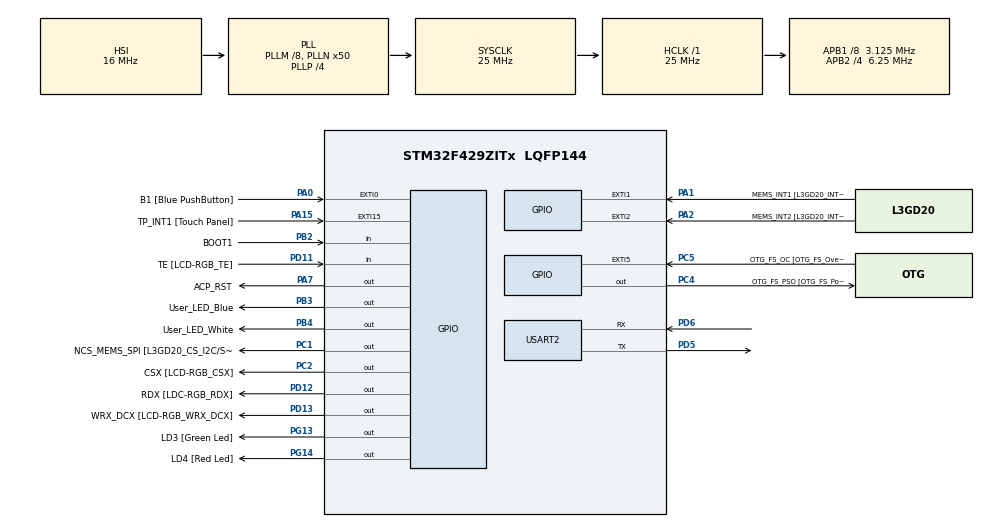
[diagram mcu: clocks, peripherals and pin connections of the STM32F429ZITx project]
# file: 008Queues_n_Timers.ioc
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Mcu.Family=STM32F4
Mcu.Name=STM32F429ZITx
Mcu.Package=LQFP144
NVIC.PriorityGroup=NVIC_PRIORITYGROUP_4
NVIC.TIM6_DAC_IRQn=true\:0\:0\:false\:false\:true\:false\:true
NVIC.TimeBase=TIM6_DAC_IRQn
NVIC.TimeBaseIP=TIM6
NVIC.USART2_IRQn=true\:6\:0\:true\:false\:true\:true\:true
PA0/WKUP.GPIO_Label=B1 [Blue PushButton]
PA0/WKUP.GPIO_ModeDefaultEXTI=GPIO_MODE_EVT_RISING
PA0/WKUP.GPIO_PuPd=GPIO_NOPULL
PA0/WKUP.Signal=GPXTI0
PA1.GPIO_Label=MEMS_INT1 [L3GD20_INT1]
PA1.GPIO_ModeDefaultEXTI=GPIO_MODE_EVT_RISING
PA1.GPIO_PuPd=GPIO_NOPULL
PA1.Signal=GPXTI1
PA10.GPIO_Label=STLINK_TX [STM32F103CBT6_PA2]
PA10.Signal=USART1_RX
PA11.GPIO_Label=R4
PA11.GPIO_Mode=GPIO_MODE_AF_PP
PA11.GPIO_PuPd=GPIO_NOPULL
PA11.GPIO_Speed=GPIO_SPEED_FREQ_LOW
PA11.Signal=LTDC_R4
PA12.GPIO_Label=R5
PA12.GPIO_Mode=GPIO_MODE_AF_PP
PA12.GPIO_PuPd=GPIO_NOPULL
PA12.GPIO_Speed=GPIO_SPEED_FREQ_LOW
PA12.Signal=LTDC_R5
PA13.GPIO_Label=SWDIO
PA13.Signal=SYS_JTMS-SWDIO
PA14.GPIO_Label=SWCLK
PA14.Signal=SYS_JTCK-SWCLK
PA15.GPIO_Label=TP_INT1 [Touch Panel]
PA15.GPIO_ModeDefaultEXTI=GPIO_MODE_EVT_RISING
PA15.GPIO_PuPd=GPIO_NOPULL
PA15.Signal=GPXTI15
PA2.GPIO_Label=MEMS_INT2 [L3GD20_INT2]
PA2.GPIO_ModeDefaultEXTI=GPIO_MODE_EVT_RISING
PA2.GPIO_PuPd=GPIO_NOPULL
PA2.Signal=GPXTI2
PA3.GPIO_Label=B5
PA3.GPIO_Mode=GPIO_MODE_AF_PP
PA3.GPIO_PuPd=GPIO_NOPULL
PA3.GPIO_Speed=GPIO_SPEED_FREQ_LOW
PA3.Signal=LTDC_B5
PA4.GPIO_Label=VSYNC
PA4.GPIO_Mode=GPIO_MODE_AF_PP
PA4.GPIO_PuPd=GPIO_NOPULL
PA4.GPIO_Speed=GPIO_SPEED_FREQ_LOW
PA4.Signal=LTDC_VSYNC
PA6.GPIO_Label=G2
PA6.GPIO_Mode=GPIO_MODE_AF_PP
PA6.GPIO_PuPd=GPIO_NOPULL
PA6.GPIO_Speed=GPIO_SPEED_FREQ_LOW
PA6.Signal=LTDC_G2
PA7.GPIO_Label=ACP_RST
PA7.GPIO_Mode=GPIO_MODE_OUTPUT_PP
PA7.GPIO_PuPd=GPIO_NOPULL
PA7.GPIO_Speed=GPIO_SPEED_FREQ_LOW
PA7.Signal=GPIO_Output
PA8.GPIO_Label=I2C3_SCL [ACP/RF_SCL]
PA8.GPIO_Mode=GPIO_MODE_AF_OD
PA8.GPIO_PuPd=GPIO_NOPULL
PA8.GPIO_Speed=GPIO_SPEED_FREQ_LOW
PA8.Signal=I2C3_SCL
PA9.GPIO_Label=STLINK_RX [STM32F103CBT6_PA3]
PA9.Signal=USART1_TX
PB0.GPIO_Label=R3
PB0.GPIO_Mode=GPIO_MODE_AF_PP
PB0.GPIO_PuPd=GPIO_NOPULL
PB0.GPIO_Speed=GPIO_SPEED_FREQ_LOW
PB0.Signal=LTDC_R3
PB1.GPIO_Label=R6
PB1.GPIO_Mode=GPIO_MODE_AF_PP
PB1.GPIO_PuPd=GPIO_NOPULL
PB1.GPIO_Speed=GPIO_SPEED_FREQ_LOW
PB1.Signal=LTDC_R6
PB10.GPIO_Label=G4
PB10.GPIO_Mode=GPIO_MODE_AF_PP
PB10.GPIO_PuPd=GPIO_NOPULL
PB10.GPIO_Speed=GPIO_SPEED_FREQ_LOW
PB10.Signal=LTDC_G4
PB11.GPIO_Label=G5
PB11.GPIO_Mode=GPIO_MODE_AF_PP
PB11.GPIO_PuPd=GPIO_NOPULL
PB11.GPIO_Speed=GPIO_SPEED_FREQ_LOW
PB11.Signal=LTDC_G5
PB12.GPIO_Label=OTG_HS_ID
PB12.GPIO_Mode=GPIO_MODE_AF_PP
PB12.GPIO_PuPd=GPIO_NOPULL
PB12.GPIO_Speed=GPIO_SPEED_FREQ_LOW
PB12.Signal=USB_OTG_HS_ID
PB13.GPIO_Label=VBUS_HS
PB13.GPIO_Mode=GPIO_MODE_INPUT
PB13.GPIO_PuPd=GPIO_NOPULL
PB13.Signal=USB_OTG_HS_VBUS
PB14.GPIO_Label=OTG_HS_DM
PB14.GPIO_Mode=GPIO_MODE_AF_PP
PB14.GPIO_PuPd=GPIO_NOPULL
PB14.GPIO_Speed=GPIO_SPEED_FREQ_LOW
PB14.Signal=USB_OTG_HS_DM
PB15.GPIO_Label=OTG_HS_DP
PB15.GPIO_Mode=GPIO_MODE_AF_PP
PB15.GPIO_PuPd=GPIO_NOPULL
PB15.GPIO_Speed=GPIO_SPEED_FREQ_LOW
PB15.Signal=USB_OTG_HS_DP
PB2/BOOT1.GPIO_Label=BOOT1
PB2/BOOT1.GPIO_Mode=GPIO_MODE_INPUT
PB2/BOOT1.GPIO_PuPd=GPIO_NOPULL
PB2/BOOT1.Signal=GPIO_Input
PB3.GPIO_Label=User_LED_Blue
PB3.Signal=GPIO_Output
PB4.GPIO_Label=User_LED_White
PB4.Signal=GPIO_Output
PB5.GPIO_Label=SDCKE1
PB5.GPIO_Mode=GPIO_MODE_AF_PP
PB5.GPIO_PuPd=GPIO_NOPULL
PB5.GPIO_Speed=GPIO_SPEED_FREQ_VERY_HIGH
PB5.Signal=FMC_SDCKE1
PB6.GPIO_Label=SDNE1 [SDRAM_CS]
PB6.GPIO_Mode=GPIO_MODE_AF_PP
PB6.GPIO_PuPd=GPIO_NOPULL
PB6.GPIO_Speed=GPIO_SPEED_FREQ_VERY_HIGH
PB6.Signal=FMC_SDNE1
PB8.GPIO_Label=B6
PB8.GPIO_Mode=GPIO_MODE_AF_PP
PB8.GPIO_PuPd=GPIO_NOPULL
PB8.GPIO_Speed=GPIO_SPEED_FREQ_LOW
PB8.Signal=LTDC_B6
PB9.GPIO_Label=B7
PB9.GPIO_Mode=GPIO_MODE_AF_PP
PB9.GPIO_PuPd=GPIO_NOPULL
PB9.GPIO_Speed=GPIO_SPEED_FREQ_LOW
PB9.Signal=LTDC_B7
PC0.GPIO_Label=SDNWE
PC0.GPIO_Mode=GPIO_MODE_AF_PP
PC0.GPIO_PuPd=GPIO_NOPULL
PC0.GPIO_Speed=GPIO_SPEED_FREQ_VERY_HIGH
PC0.Signal=FMC_SDNWE
PC1.GPIO_Label=NCS_MEMS_SPI [L3GD20_CS_I2C/SPI]
PC1.GPIO_Mode=GPIO_MODE_OUTPUT_PP
PC1.GPIO_PuPd=GPIO_NOPULL
PC1.GPIO_Speed=GPIO_SPEED_FREQ_LOW
PC1.Signal=GPIO_Output
PC10.GPIO_Label=R2
PC10.GPIO_Mode=GPIO_MODE_AF_PP
PC10.GPIO_PuPd=GPIO_NOPULL
PC10.GPIO_Speed=GPIO_SPEED_FREQ_LOW
PC10.Signal=LTDC_R2
PC14/OSC32_IN.GPIO_Label=PC14-OSC32_IN
PC14/OSC32_IN.Signal=RCC_OSC32_IN
PC15/OSC32_OUT.GPIO_Label=PC15-OSC32_OUT
PC15/OSC32_OUT.Signal=RCC_OSC32_OUT
PC2.GPIO_Label=CSX [LCD-RGB_CSX]
PC2.GPIO_Mode=GPIO_MODE_OUTPUT_PP
PC2.GPIO_PuPd=GPIO_NOPULL
PC2.GPIO_Speed=GPIO_SPEED_FREQ_LOW
PC2.Signal=GPIO_Output
PC4.GPIO_Label=OTG_FS_PSO [OTG_FS_PowerSwitchOn]
PC4.GPIO_Mode=GPIO_MODE_OUTPUT_PP
PC4.GPIO_PuPd=GPIO_NOPULL
PC4.GPIO_Speed=GPIO_SPEED_FREQ_LOW
PC4.Signal=GPIO_Output
PC5.GPIO_Label=OTG_FS_OC [OTG_FS_OverCurrent]
PC5.GPIO_ModeDefaultEXTI=GPIO_MODE_EVT_RISING
PC5.Signal=GPXTI5
PC6.GPIO_Label=HSYNC
PC6.GPIO_Mode=GPIO_MODE_AF_PP
PC6.GPIO_PuPd=GPIO_NOPULL
PC6.GPIO_Speed=GPIO_SPEED_FREQ_LOW
PC6.Signal=LTDC_HSYNC
PC7.GPIO_Label=G6
PC7.GPIO_Mode=GPIO_MODE_AF_PP
PC7.GPIO_PuPd=GPIO_NOPULL
PC7.GPIO_Speed=GPIO_SPEED_FREQ_LOW
PC7.Signal=LTDC_G6
PC9.GPIO_Label=I2C3_SDA [ACP/RF_SDA]
PC9.GPIO_Mode=GPIO_MODE_AF_OD
PC9.GPIO_PuPd=GPIO_NOPULL
PC9.GPIO_Speed=GPIO_SPEED_FREQ_LOW
PC9.Signal=I2C3_SDA
PD0.GPIO_Label=D2
PD0.GPIO_Mode=GPIO_MODE_AF_PP
PD0.GPIO_PuPd=GPIO_NOPULL
PD0.GPIO_Speed=GPIO_SPEED_FREQ_VERY_HIGH
PD0.Signal=FMC_D2_DA2
PD1.GPIO_Label=D3
PD1.GPIO_Mode=GPIO_MODE_AF_PP
PD1.GPIO_PuPd=GPIO_NOPULL
PD1.GPIO_Speed=GPIO_SPEED_FREQ_VERY_HIGH
PD1.Signal=FMC_D3_DA3
PD10.GPIO_Label=D15
PD10.GPIO_Mode=GPIO_MODE_AF_PP
PD10.GPIO_PuPd=GPIO_NOPULL
PD10.GPIO_Speed=GPIO_SPEED_FREQ_VERY_HIGH
PD10.Signal=FMC_D15_DA15
PD11.GPIO_Label=TE [LCD-RGB_TE]
PD11.GPIO_Mode=GPIO_MODE_INPUT
PD11.GPIO_PuPd=GPIO_NOPULL
PD11.Signal=GPIO_Input
PD12.GPIO_Label=RDX [LDC-RGB_RDX]
PD12.GPIO_Mode=GPIO_MODE_OUTPUT_PP
PD12.GPIO_PuPd=GPIO_NOPULL
PD12.GPIO_Speed=GPIO_SPEED_FREQ_LOW
PD12.Signal=GPIO_Output
PD13.GPIO_Label=WRX_DCX [LCD-RGB_WRX_DCX]
PD13.GPIO_Mode=GPIO_MODE_OUTPUT_PP
PD13.GPIO_PuPd=GPIO_NOPULL
PD13.GPIO_Speed=GPIO_SPEED_FREQ_LOW
PD13.Signal=GPIO_Output
PD14.GPIO_Label=D0
PD14.GPIO_Mode=GPIO_MODE_AF_PP
PD14.GPIO_PuPd=GPIO_NOPULL
PD14.GPIO_Speed=GPIO_SPEED_FREQ_VERY_HIGH
PD14.Signal=FMC_D0_DA0
PD15.GPIO_Label=D1
PD15.GPIO_Mode=GPIO_MODE_AF_PP
PD15.GPIO_PuPd=GPIO_NOPULL
PD15.GPIO_Speed=GPIO_SPEED_FREQ_VERY_HIGH
PD15.Signal=FMC_D1_DA1
PD3.GPIO_Label=G7
PD3.GPIO_Mode=GPIO_MODE_AF_PP
PD3.GPIO_PuPd=GPIO_NOPULL
PD3.GPIO_Speed=GPIO_SPEED_FREQ_LOW
PD3.Signal=LTDC_G7
PD5.Mode=Asynchronous
PD5.Signal=USART2_TX
PD6.Mode=Asynchronous
PD6.Signal=USART2_RX
PD8.GPIO_Label=D13
PD8.GPIO_Mode=GPIO_MODE_AF_PP
PD8.GPIO_PuPd=GPIO_NOPULL
PD8.GPIO_Speed=GPIO_SPEED_FREQ_VERY_HIGH
PD8.Signal=FMC_D13_DA13
PD9.GPIO_Label=D14
PD9.GPIO_Mode=GPIO_MODE_AF_PP
PD9.GPIO_PuPd=GPIO_NOPULL
PD9.GPIO_Speed=GPIO_SPEED_FREQ_VERY_HIGH
PD9.Signal=FMC_D14_DA14
PE0.GPIO_Label=NBL0 [SDRAM_LDQM]
PE0.GPIO_Mode=GPIO_MODE_AF_PP
PE0.GPIO_PuPd=GPIO_NOPULL
PE0.GPIO_Speed=GPIO_SPEED_FREQ_VERY_HIGH
PE0.Signal=FMC_NBL0
PE1.GPIO_Label=NBL1 [SDRAM_UDQM]
PE1.GPIO_Mode=GPIO_MODE_AF_PP
PE1.GPIO_PuPd=GPIO_NOPULL
PE1.GPIO_Speed=GPIO_SPEED_FREQ_VERY_HIGH
PE1.Signal=FMC_NBL1
PE10.GPIO_Label=D7
PE10.GPIO_Mode=GPIO_MODE_AF_PP
PE10.GPIO_PuPd=GPIO_NOPULL
PE10.GPIO_Speed=GPIO_SPEED_FREQ_VERY_HIGH
PE10.Signal=FMC_D7_DA7
PE11.GPIO_Label=D8
PE11.GPIO_Mode=GPIO_MODE_AF_PP
PE11.GPIO_PuPd=GPIO_NOPULL
PE11.GPIO_Speed=GPIO_SPEED_FREQ_VERY_HIGH
PE11.Signal=FMC_D8_DA8
PE12.GPIO_Label=D9
PE12.GPIO_Mode=GPIO_MODE_AF_PP
PE12.GPIO_PuPd=GPIO_NOPULL
PE12.GPIO_Speed=GPIO_SPEED_FREQ_VERY_HIGH
PE12.Signal=FMC_D9_DA9
PE13.GPIO_Label=D10
PE13.GPIO_Mode=GPIO_MODE_AF_PP
PE13.GPIO_PuPd=GPIO_NOPULL
PE13.GPIO_Speed=GPIO_SPEED_FREQ_VERY_HIGH
PE13.Signal=FMC_D10_DA10
PE14.GPIO_Label=D11
PE14.GPIO_Mode=GPIO_MODE_AF_PP
PE14.GPIO_PuPd=GPIO_NOPULL
PE14.GPIO_Speed=GPIO_SPEED_FREQ_VERY_HIGH
PE14.Signal=FMC_D11_DA11
PE15.GPIO_Label=D12
PE15.GPIO_Mode=GPIO_MODE_AF_PP
PE15.GPIO_PuPd=GPIO_NOPULL
PE15.GPIO_Speed=GPIO_SPEED_FREQ_VERY_HIGH
PE15.Signal=FMC_D12_DA12
PE7.GPIO_Label=D4
PE7.GPIO_Mode=GPIO_MODE_AF_PP
PE7.GPIO_PuPd=GPIO_NOPULL
PE7.GPIO_Speed=GPIO_SPEED_FREQ_VERY_HIGH
PE7.Signal=FMC_D4_DA4
PE8.GPIO_Label=D5
PE8.GPIO_Mode=GPIO_MODE_AF_PP
PE8.GPIO_PuPd=GPIO_NOPULL
PE8.GPIO_Speed=GPIO_SPEED_FREQ_VERY_HIGH
PE8.Signal=FMC_D5_DA5
PE9.GPIO_Label=D6
PE9.GPIO_Mode=GPIO_MODE_AF_PP
PE9.GPIO_PuPd=GPIO_NOPULL
PE9.GPIO_Speed=GPIO_SPEED_FREQ_VERY_HIGH
PE9.Signal=FMC_D6_DA6
PF0.GPIO_Label=A0
PF0.GPIO_Mode=GPIO_MODE_AF_PP
PF0.GPIO_PuPd=GPIO_NOPULL
PF0.GPIO_Speed=GPIO_SPEED_FREQ_VERY_HIGH
PF0.Signal=FMC_A0
PF1.GPIO_Label=A1
PF1.GPIO_Mode=GPIO_MODE_AF_PP
PF1.GPIO_PuPd=GPIO_NOPULL
PF1.GPIO_Speed=GPIO_SPEED_FREQ_VERY_HIGH
PF1.Signal=FMC_A1
PF10.GPIO_Label=ENABLE [LCD-RGB_ENABLE]
PF10.GPIO_Mode=GPIO_MODE_AF_PP
PF10.GPIO_PuPd=GPIO_NOPULL
PF10.GPIO_Speed=GPIO_SPEED_FREQ_LOW
PF10.Signal=LTDC_DE
PF11.GPIO_Label=SDNRAS
PF11.GPIO_Mode=GPIO_MODE_AF_PP
PF11.GPIO_PuPd=GPIO_NOPULL
PF11.GPIO_Speed=GPIO_SPEED_FREQ_VERY_HIGH
PF11.Signal=FMC_SDNRAS
PF12.GPIO_Label=A6
PF12.GPIO_Mode=GPIO_MODE_AF_PP
PF12.GPIO_PuPd=GPIO_NOPULL
PF12.GPIO_Speed=GPIO_SPEED_FREQ_VERY_HIGH
PF12.Signal=FMC_A6
PF13.GPIO_Label=A7
PF13.GPIO_Mode=GPIO_MODE_AF_PP
PF13.GPIO_PuPd=GPIO_NOPULL
PF13.GPIO_Speed=GPIO_SPEED_FREQ_VERY_HIGH
PF13.Signal=FMC_A7
PF14.GPIO_Label=A8
PF14.GPIO_Mode=GPIO_MODE_AF_PP
PF14.GPIO_PuPd=GPIO_NOPULL
PF14.GPIO_Speed=GPIO_SPEED_FREQ_VERY_HIGH
PF14.Signal=FMC_A8
PF15.GPIO_Label=A9
PF15.GPIO_Mode=GPIO_MODE_AF_PP
PF15.GPIO_PuPd=GPIO_NOPULL
PF15.GPIO_Speed=GPIO_SPEED_FREQ_VERY_HIGH
PF15.Signal=FMC_A9
PF2.GPIO_Label=A2
PF2.GPIO_Mode=GPIO_MODE_AF_PP
PF2.GPIO_PuPd=GPIO_NOPULL
PF2.GPIO_Speed=GPIO_SPEED_FREQ_VERY_HIGH
PF2.Signal=FMC_A2
PF3.GPIO_Label=A3
PF3.GPIO_Mode=GPIO_MODE_AF_PP
PF3.GPIO_PuPd=GPIO_NOPULL
PF3.GPIO_Speed=GPIO_SPEED_FREQ_VERY_HIGH
PF3.Signal=FMC_A3
PF4.GPIO_Label=A4
PF4.GPIO_Mode=GPIO_MODE_AF_PP
PF4.GPIO_PuPd=GPIO_NOPULL
PF4.GPIO_Speed=GPIO_SPEED_FREQ_VERY_HIGH
PF4.Signal=FMC_A4
PF5.GPIO_Label=A5
PF5.GPIO_Mode=GPIO_MODE_AF_PP
PF5.GPIO_PuPd=GPIO_NOPULL
PF5.GPIO_Speed=GPIO_SPEED_FREQ_VERY_HIGH
PF5.Signal=FMC_A5
PF7.GPIO_Label=SPI5_SCK [L3GD20_SCL/SPC]
PF7.GPIO_Mode=GPIO_MODE_AF_PP
PF7.GPIO_PuPd=GPIO_NOPULL
PF7.GPIO_Speed=GPIO_SPEED_FREQ_LOW
PF7.Signal=SPI5_SCK
PF8.GPIO_Label=SPI5_MISO [L3GD20_SDO]
PF8.GPIO_Mode=GPIO_MODE_AF_PP
PF8.GPIO_PuPd=GPIO_NOPULL
PF8.GPIO_Speed=GPIO_SPEED_FREQ_LOW
PF8.Signal=SPI5_MISO
PF9.GPIO_Label=SPI5_MOSI [L3GD20_SDA/SDI/SDO]
PF9.GPIO_Mode=GPIO_MODE_AF_PP
PF9.GPIO_PuPd=GPIO_NOPULL
PF9.GPIO_Speed=GPIO_SPEED_FREQ_LOW
PF9.Signal=SPI5_MOSI
PG0.GPIO_Label=A10
PG0.GPIO_Mode=GPIO_MODE_AF_PP
PG0.GPIO_PuPd=GPIO_NOPULL
PG0.GPIO_Speed=GPIO_SPEED_FREQ_VERY_HIGH
PG0.Signal=FMC_A10
PG1.GPIO_Label=A11
PG1.GPIO_Mode=GPIO_MODE_AF_PP
PG1.GPIO_PuPd=GPIO_NOPULL
PG1.GPIO_Speed=GPIO_SPEED_FREQ_VERY_HIGH
PG1.Signal=FMC_A11
PG10.GPIO_Label=G3
PG10.GPIO_Mode=GPIO_MODE_AF_PP
PG10.GPIO_PuPd=GPIO_NOPULL
PG10.GPIO_Speed=GPIO_SPEED_FREQ_LOW
PG10.Signal=LTDC_G3
PG11.GPIO_Label=B3
PG11.GPIO_Mode=GPIO_MODE_AF_PP
PG11.GPIO_PuPd=GPIO_NOPULL
PG11.GPIO_Speed=GPIO_SPEED_FREQ_LOW
PG11.Signal=LTDC_B3
PG12.GPIO_Label=B4
PG12.GPIO_Mode=GPIO_MODE_AF_PP
PG12.GPIO_PuPd=GPIO_NOPULL
PG12.GPIO_Speed=GPIO_SPEED_FREQ_LOW
PG12.Signal=LTDC_B4
PG13.GPIO_Label=LD3 [Green Led]
PG13.GPIO_Mode=GPIO_MODE_OUTPUT_PP
PG13.GPIO_PuPd=GPIO_NOPULL
PG13.GPIO_Speed=GPIO_SPEED_FREQ_LOW
PG13.Signal=GPIO_Output
PG14.GPIO_Label=LD4 [Red Led]
PG14.GPIO_Mode=GPIO_MODE_OUTPUT_PP
PG14.GPIO_PuPd=GPIO_NOPULL
PG14.GPIO_Speed=GPIO_SPEED_FREQ_LOW
PG14.Signal=GPIO_Output
PG15.GPIO_Label=SDNCAS
PG15.GPIO_Mode=GPIO_MODE_AF_PP
PG15.GPIO_PuPd=GPIO_NOPULL
PG15.GPIO_Speed=GPIO_SPEED_FREQ_VERY_HIGH
PG15.Signal=FMC_SDNCAS
PG4.GPIO_Label=BA0
PG4.GPIO_Mode=GPIO_MODE_AF_PP
PG4.GPIO_PuPd=GPIO_NOPULL
PG4.GPIO_Speed=GPIO_SPEED_FREQ_VERY_HIGH
PG4.Signal=FMC_A14_BA0
PG5.GPIO_Label=BA1
PG5.GPIO_Mode=GPIO_MODE_AF_PP
PG5.GPIO_PuPd=GPIO_NOPULL
PG5.GPIO_Speed=GPIO_SPEED_FREQ_VERY_HIGH
PG5.Signal=FMC_A15_BA1
PG6.GPIO_Label=R7
PG6.GPIO_Mode=GPIO_MODE_AF_PP
PG6.GPIO_PuPd=GPIO_NOPULL
PG6.GPIO_Speed=GPIO_SPEED_FREQ_LOW
PG6.Signal=LTDC_R7
PG7.GPIO_Label=DOTCLK [LCT-RGB_DOTCLK]
PG7.GPIO_Mode=GPIO_MODE_AF_PP
PG7.GPIO_PuPd=GPIO_NOPULL
PG7.GPIO_Speed=GPIO_SPEED_FREQ_LOW
PG7.Signal=LTDC_CLK
PG8.GPIO_Label=SDCLK
PG8.GPIO_Mode=GPIO_MODE_AF_PP
PG8.GPIO_PuPd=GPIO_NOPULL
PG8.GPIO_Speed=GPIO_SPEED_FREQ_VERY_HIGH
PG8.Signal=FMC_SDCLK
PH0/OSC_IN.GPIO_Label=PH0-OSC_IN
PH0/OSC_IN.Signal=RCC_OSC_IN
PH1/OSC_OUT.GPIO_Label=PH1-OSC_OUT
PH1/OSC_OUT.Signal=RCC_OSC_OUT
ProjectManager.HeapSize=0x200
ProjectManager.StackSize=0x400
ProjectManager.TargetToolchain=STM32CubeIDE
RCC.48MHZClocksFreq_Value=14285714.285714285
RCC.AHBFreq_Value=25000000
RCC.APB1CLKDivider=RCC_HCLK_DIV8
RCC.APB1Freq_Value=3125000
RCC.APB1TimFreq_Value=6250000
RCC.APB2CLKDivider=RCC_HCLK_DIV4
RCC.APB2Freq_Value=6250000
RCC.APB2TimFreq_Value=12500000
RCC.CortexFreq_Value=25000000
RCC.HCLKFreq_Value=25000000
RCC.HSE_VALUE=8000000
RCC.HSI_VALUE=16000000
RCC.LSE_VALUE=32768
RCC.PLLM=8
RCC.PLLN=50
RCC.PLLP=RCC_PLLP_DIV4
RCC.PLLQ=7
RCC.SYSCLKFreq_VALUE=25000000
RCC.SYSCLKSource=RCC_SYSCLKSOURCE_PLLCLK
RCC.VCOOutputFreq_Value=100000000
RTC.HourFormat=RTC_HOURFORMAT_12
SH.FMC_A0.0=FMC_A0
SH.FMC_A1.0=FMC_A1
SH.FMC_A10.0=FMC_A10
SH.FMC_A11.0=FMC_A11
SH.FMC_A14_BA0.0=FMC_BA0
SH.FMC_A15_BA1.0=FMC_BA1
SH.FMC_A2.0=FMC_A2
SH.FMC_A3.0=FMC_A3
SH.FMC_A4.0=FMC_A4
SH.FMC_A5.0=FMC_A5
SH.FMC_A6.0=FMC_A6
SH.FMC_A7.0=FMC_A7
SH.FMC_A8.0=FMC_A8
SH.FMC_A9.0=FMC_A9
SH.FMC_D0_DA0.0=FMC_D0
SH.FMC_D10_DA10.0=FMC_D10
SH.FMC_D11_DA11.0=FMC_D11
SH.FMC_D12_DA12.0=FMC_D12
SH.FMC_D13_DA13.0=FMC_D13
SH.FMC_D14_DA14.0=FMC_D14
SH.FMC_D15_DA15.0=FMC_D15
SH.FMC_D1_DA1.0=FMC_D1
SH.FMC_D2_DA2.0=FMC_D2
SH.FMC_D3_DA3.0=FMC_D3
SH.FMC_D4_DA4.0=FMC_D4
SH.FMC_D5_DA5.0=FMC_D5
SH.FMC_D6_DA6.0=FMC_D6
SH.FMC_D7_DA7.0=FMC_D7
SH.FMC_D8_DA8.0=FMC_D8
SH.FMC_D9_DA9.0=FMC_D9
SH.FMC_NBL0.0=FMC_NBL0
SH.FMC_NBL1.0=FMC_NBL1
SH.FMC_SDCLK.0=FMC_SDCLK
SH.FMC_SDNCAS.0=FMC_SDNCAS
SH.FMC_SDNRAS.0=FMC_SDNRAS
SH.FMC_SDNWE.0=FMC_SDNWE
USART2.VirtualMode=VM_ASYNC
VP_RTC_VS_RTC_Activate.Mode=RTC_Enabled
VP_SYS_VS_tim6.Mode=TIM6
board=STM32F429I-DISC1

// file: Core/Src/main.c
/* USER CODE BEGIN Header */
/**
  ******************************************************************************
  * @file           : main.c
  * @brief          : Main program body
  ******************************************************************************
  * @attention
  *
  * <h2><center>&copy; Copyright (c) 2021 STMicroelectronics.
  * All rights reserved.</center></h2>
  *
  * This software component is licensed by ST under BSD 3-Clause license,
  * the "License"; You may not use this file except in compliance with the
  * License. You may obtain a copy of the License at:
  *                        opensource.org/licenses/BSD-3-Clause
  *
  ******************************************************************************
  */
/* USER CODE END Header */
#include "main.h"

RTC_HandleTypeDef hrtc;

UART_HandleTypeDef huart2;

/* USER CODE BEGIN PV */

xTaskHandle handle_cmd_task;
xTaskHandle handle_menu_task;
xTaskHandle handle_print_task;
xTaskHandle handle_led_task;
xTaskHandle handle_rtc_task;

QueueHandle_t q_data;
QueueHandle_t q_print;

//software timer handles
TimerHandle_t  handle_led_timer[4];
TimerHandle_t rtc_timer;

volatile uint8_t user_data;

//state variable
state_t curr_state = sMainMenu;

/* USER CODE END PV */

void SystemClock_Config(void);
static void MX_GPIO_Init(void);
static void MX_RTC_Init(void);
static void MX_USART2_UART_Init(void);
/* USER CODE BEGIN PFP */

void led_effect_callback(TimerHandle_t xTimer);
void rtc_report_callback( TimerHandle_t xTimer );

/* USER CODE END PFP */

int main(void)
{
  /* USER CODE BEGIN 1 */

	BaseType_t status;

  /* USER CODE END 1 */

  /* MCU Configuration--------------------------------------------------------*/

  /* Reset of all peripherals, Initializes the Flash interface and the Systick. */
  HAL_Init();

  /* Configure the system clock */
  SystemClock_Config();

  /* Initialize all configured peripherals */
  MX_GPIO_Init();
  MX_RTC_Init();
  MX_USART2_UART_Init();
  /* USER CODE BEGIN 2 */

  status = xTaskCreate(menu_task, "menu_task", 250, NULL, 2, &handle_menu_task);

  	configASSERT(status == pdPASS);

  	status = xTaskCreate(cmd_handler_task, "cmd_task", 250, NULL, 2, &handle_cmd_task);

  	configASSERT(status == pdPASS);

  	status = xTaskCreate(print_task, "print_task", 250, NULL, 2, &handle_print_task);

  	configASSERT(status == pdPASS);

  	status = xTaskCreate(led_task, "led_task", 250, NULL, 2, &handle_led_task);

  	configASSERT(status == pdPASS);

  	status = xTaskCreate(rtc_task, "rtc_task", 250, NULL, 2, &handle_rtc_task);

  	configASSERT(status == pdPASS);

  	q_data = xQueueCreate (10, sizeof(char));

  	configASSERT(q_data != NULL);

  	q_print = xQueueCreate (10, sizeof(size_t));

  	configASSERT(q_print != NULL);

  	//Create software timers for LED effects
  	for(int i = 0 ; i < 4 ; i++)
  			handle_led_timer[i] = xTimerCreate("led_timer",pdMS_TO_TICKS(500),pdTRUE, (void*)(i+1),led_effect_callback);

  	rtc_timer = xTimerCreate ("rtc_report_timer",pdMS_TO_TICKS(1000),pdTRUE,NULL,rtc_report_callback);

  	HAL_UART_Receive_IT(&huart2, (uint8_t*)&user_data, 1);

  	vTaskStartScheduler();

  /* USER CODE END 2 */

  /* Infinite loop */
  while (1)
  {

  }
}

void SystemClock_Config(void)
{
  RCC_OscInitTypeDef RCC_OscInitStruct = {0};
  RCC_ClkInitTypeDef RCC_ClkInitStruct = {0};

  /** Configure the main internal regulator output voltage
  */
  __HAL_RCC_PWR_CLK_ENABLE();
  __HAL_PWR_VOLTAGESCALING_CONFIG(PWR_REGULATOR_VOLTAGE_SCALE3);
  /** Initializes the RCC Oscillators according to the specified parameters
  * in the RCC_OscInitTypeDef structure.
  */
  RCC_OscInitStruct.OscillatorType = RCC_OSCILLATORTYPE_HSI|RCC_OSCILLATORTYPE_LSI;
  RCC_OscInitStruct.HSIState = RCC_HSI_ON;
  RCC_OscInitStruct.HSICalibrationValue = RCC_HSICALIBRATION_DEFAULT;
  RCC_OscInitStruct.LSIState = RCC_LSI_ON;
  RCC_OscInitStruct.PLL.PLLState = RCC_PLL_ON;
  RCC_OscInitStruct.PLL.PLLSource = RCC_PLLSOURCE_HSI;
  RCC_OscInitStruct.PLL.PLLM = 8;
  RCC_OscInitStruct.PLL.PLLN = 50;
  RCC_OscInitStruct.PLL.PLLP = RCC_PLLP_DIV4;
  RCC_OscInitStruct.PLL.PLLQ = 7;
  if (HAL_RCC_OscConfig(&RCC_OscInitStruct) != HAL_OK)
  {
    Error_Handler();
  }
  /** Initializes the CPU, AHB and APB buses clocks
  */
  RCC_ClkInitStruct.ClockType = RCC_CLOCKTYPE_HCLK|RCC_CLOCKTYPE_SYSCLK
                              |RCC_CLOCKTYPE_PCLK1|RCC_CLOCKTYPE_PCLK2;
  RCC_ClkInitStruct.SYSCLKSource = RCC_SYSCLKSOURCE_PLLCLK;
  RCC_ClkInitStruct.AHBCLKDivider = RCC_SYSCLK_DIV1;
  RCC_ClkInitStruct.APB1CLKDivider = RCC_HCLK_DIV8;
  RCC_ClkInitStruct.APB2CLKDivider = RCC_HCLK_DIV4;

  if (HAL_RCC_ClockConfig(&RCC_ClkInitStruct, FLASH_LATENCY_0) != HAL_OK)
  {
    Error_Handler();
  }
}

static void MX_RTC_Init(void)
{

  /** Initialize RTC Only
  */
  hrtc.Instance = RTC;
  hrtc.Init.HourFormat = RTC_HOURFORMAT_12;
  hrtc.Init.AsynchPrediv = 127;
  hrtc.Init.SynchPrediv = 255;
  hrtc.Init.OutPut = RTC_OUTPUT_DISABLE;
  hrtc.Init.OutPutPolarity = RTC_OUTPUT_POLARITY_HIGH;
  hrtc.Init.OutPutType = RTC_OUTPUT_TYPE_OPENDRAIN;
  if (HAL_RTC_Init(&hrtc) != HAL_OK)
  {
    Error_Handler();
  }

}

static void MX_USART2_UART_Init(void)
{

  huart2.Instance = USART2;
  huart2.Init.BaudRate = 115200;
  huart2.Init.WordLength = UART_WORDLENGTH_8B;
  huart2.Init.StopBits = UART_STOPBITS_1;
  huart2.Init.Parity = UART_PARITY_NONE;
  huart2.Init.Mode = UART_MODE_TX_RX;
  huart2.Init.HwFlowCtl = UART_HWCONTROL_NONE;
  huart2.Init.OverSampling = UART_OVERSAMPLING_16;
  if (HAL_UART_Init(&huart2) != HAL_OK)
  {
    Error_Handler();
  }

}

static void MX_GPIO_Init(void)
{
  GPIO_InitTypeDef GPIO_InitStruct = {0};

  /* GPIO Ports Clock Enable */
  __HAL_RCC_GPIOC_CLK_ENABLE();
  __HAL_RCC_GPIOF_CLK_ENABLE();
  __HAL_RCC_GPIOH_CLK_ENABLE();
  __HAL_RCC_GPIOA_CLK_ENABLE();
  __HAL_RCC_GPIOB_CLK_ENABLE();
  __HAL_RCC_GPIOG_CLK_ENABLE();
  __HAL_RCC_GPIOE_CLK_ENABLE();
  __HAL_RCC_GPIOD_CLK_ENABLE();

  /*Configure GPIO pin Output Level */
  HAL_GPIO_WritePin(GPIOC, NCS_MEMS_SPI_Pin|CSX_Pin|OTG_FS_PSO_Pin, GPIO_PIN_RESET);

  /*Configure GPIO pin Output Level */
  HAL_GPIO_WritePin(ACP_RST_GPIO_Port, ACP_RST_Pin, GPIO_PIN_RESET);

  /*Configure GPIO pin Output Level */
  HAL_GPIO_WritePin(GPIOD, RDX_Pin|WRX_DCX_Pin, GPIO_PIN_RESET);

  /*Configure GPIO pin Output Level */
  HAL_GPIO_WritePin(GPIOG, LD3_Pin|LD4_Pin, GPIO_PIN_RESET);

  /*Configure GPIO pin Output Level */
  HAL_GPIO_WritePin(GPIOB, User_LED_Blue_Pin|User_LED_White_Pin, GPIO_PIN_RESET);

  /*Configure GPIO pins : A0_Pin A1_Pin A2_Pin A3_Pin
                           A4_Pin A5_Pin SDNRAS_Pin A6_Pin
                           A7_Pin A8_Pin A9_Pin */
  GPIO_InitStruct.Pin = A0_Pin|A1_Pin|A2_Pin|A3_Pin
                          |A4_Pin|A5_Pin|SDNRAS_Pin|A6_Pin
                          |A7_Pin|A8_Pin|A9_Pin;
  GPIO_InitStruct.Mode = GPIO_MODE_AF_PP;
  GPIO_InitStruct.Pull = GPIO_NOPULL;
  GPIO_InitStruct.Speed = GPIO_SPEED_FREQ_VERY_HIGH;
  GPIO_InitStruct.Alternate = GPIO_AF12_FMC;
  HAL_GPIO_Init(GPIOF, &GPIO_InitStruct);

  /*Configure GPIO pins : SPI5_SCK_Pin SPI5_MISO_Pin SPI5_MOSI_Pin */
  GPIO_InitStruct.Pin = SPI5_SCK_Pin|SPI5_MISO_Pin|SPI5_MOSI_Pin;
  GPIO_InitStruct.Mode = GPIO_MODE_AF_PP;
  GPIO_InitStruct.Pull = GPIO_NOPULL;
  GPIO_InitStruct.Speed = GPIO_SPEED_FREQ_LOW;
  GPIO_InitStruct.Alternate = GPIO_AF5_SPI5;
  HAL_GPIO_Init(GPIOF, &GPIO_InitStruct);

  /*Configure GPIO pin : ENABLE_Pin */
  GPIO_InitStruct.Pin = ENABLE_Pin;
  GPIO_InitStruct.Mode = GPIO_MODE_AF_PP;
  GPIO_InitStruct.Pull = GPIO_NOPULL;
  GPIO_InitStruct.Speed = GPIO_SPEED_FREQ_LOW;
  GPIO_InitStruct.Alternate = GPIO_AF14_LTDC;
  HAL_GPIO_Init(ENABLE_GPIO_Port, &GPIO_InitStruct);

  /*Configure GPIO pin : SDNWE_Pin */
  GPIO_InitStruct.Pin = SDNWE_Pin;
  GPIO_InitStruct.Mode = GPIO_MODE_AF_PP;
  GPIO_InitStruct.Pull = GPIO_NOPULL;
  GPIO_InitStruct.Speed = GPIO_SPEED_FREQ_VERY_HIGH;
  GPIO_InitStruct.Alternate = GPIO_AF12_FMC;
  HAL_GPIO_Init(SDNWE_GPIO_Port, &GPIO_InitStruct);

  /*Configure GPIO pins : NCS_MEMS_SPI_Pin CSX_Pin OTG_FS_PSO_Pin */
  GPIO_InitStruct.Pin = NCS_MEMS_SPI_Pin|CSX_Pin|OTG_FS_PSO_Pin;
  GPIO_InitStruct.Mode = GPIO_MODE_OUTPUT_PP;
  GPIO_InitStruct.Pull = GPIO_NOPULL;
  GPIO_InitStruct.Speed = GPIO_SPEED_FREQ_LOW;
  HAL_GPIO_Init(GPIOC, &GPIO_InitStruct);

  /*Configure GPIO pins : B1_Pin MEMS_INT1_Pin MEMS_INT2_Pin TP_INT1_Pin */
  GPIO_InitStruct.Pin = B1_Pin|MEMS_INT1_Pin|MEMS_INT2_Pin|TP_INT1_Pin;
  GPIO_InitStruct.Mode = GPIO_MODE_EVT_RISING;
  GPIO_InitStruct.Pull = GPIO_NOPULL;
  HAL_GPIO_Init(GPIOA, &GPIO_InitStruct);

  /*Configure GPIO pins : B5_Pin VSYNC_Pin G2_Pin R4_Pin
                           R5_Pin */
  GPIO_InitStruct.Pin = B5_Pin|VSYNC_Pin|G2_Pin|R4_Pin
                          |R5_Pin;
  GPIO_InitStruct.Mode = GPIO_MODE_AF_PP;
  GPIO_InitStruct.Pull = GPIO_NOPULL;
  GPIO_InitStruct.Speed = GPIO_SPEED_FREQ_LOW;
  GPIO_InitStruct.Alternate = GPIO_AF14_LTDC;
  HAL_GPIO_Init(GPIOA, &GPIO_InitStruct);

  /*Configure GPIO pin : ACP_RST_Pin */
  GPIO_InitStruct.Pin = ACP_RST_Pin;
  GPIO_InitStruct.Mode = GPIO_MODE_OUTPUT_PP;
  GPIO_InitStruct.Pull = GPIO_NOPULL;
  GPIO_InitStruct.Speed = GPIO_SPEED_FREQ_LOW;
  HAL_GPIO_Init(ACP_RST_GPIO_Port, &GPIO_InitStruct);

  /*Configure GPIO pin : OTG_FS_OC_Pin */
  GPIO_InitStruct.Pin = OTG_FS_OC_Pin;
  GPIO_InitStruct.Mode = GPIO_MODE_EVT_RISING;
  GPIO_InitStruct.Pull = GPIO_NOPULL;
  HAL_GPIO_Init(OTG_FS_OC_GPIO_Port, &GPIO_InitStruct);

  /*Configure GPIO pins : R3_Pin R6_Pin */
  GPIO_InitStruct.Pin = R3_Pin|R6_Pin;
  GPIO_InitStruct.Mode = GPIO_MODE_AF_PP;
  GPIO_InitStruct.Pull = GPIO_NOPULL;
  GPIO_InitStruct.Speed = GPIO_SPEED_FREQ_LOW;
  GPIO_InitStruct.Alternate = GPIO_AF9_LTDC;
  HAL_GPIO_Init(GPIOB, &GPIO_InitStruct);

  /*Configure GPIO pin : BOOT1_Pin */
  GPIO_InitStruct.Pin = BOOT1_Pin;
  GPIO_InitStruct.Mode = GPIO_MODE_INPUT;
  GPIO_InitStruct.Pull = GPIO_NOPULL;
  HAL_GPIO_Init(BOOT1_GPIO_Port, &GPIO_InitStruct);

  /*Configure GPIO pins : A10_Pin A11_Pin BA0_Pin BA1_Pin
                           SDCLK_Pin SDNCAS_Pin */
  GPIO_InitStruct.Pin = A10_Pin|A11_Pin|BA0_Pin|BA1_Pin
                          |SDCLK_Pin|SDNCAS_Pin;
  GPIO_InitStruct.Mode = GPIO_MODE_AF_PP;
  GPIO_InitStruct.Pull = GPIO_NOPULL;
  GPIO_InitStruct.Speed = GPIO_SPEED_FREQ_VERY_HIGH;
  GPIO_InitStruct.Alternate = GPIO_AF12_FMC;
  HAL_GPIO_Init(GPIOG, &GPIO_InitStruct);

  /*Configure GPIO pins : D4_Pin D5_Pin D6_Pin D7_Pin
                           D8_Pin D9_Pin D10_Pin D11_Pin
                           D12_Pin NBL0_Pin NBL1_Pin */
  GPIO_InitStruct.Pin = D4_Pin|D5_Pin|D6_Pin|D7_Pin
                          |D8_Pin|D9_Pin|D10_Pin|D11_Pin
                          |D12_Pin|NBL0_Pin|NBL1_Pin;
  GPIO_InitStruct.Mode = GPIO_MODE_AF_PP;
  GPIO_InitStruct.Pull = GPIO_NOPULL;
  GPIO_InitStruct.Speed = GPIO_SPEED_FREQ_VERY_HIGH;
  GPIO_InitStruct.Alternate = GPIO_AF12_FMC;
  HAL_GPIO_Init(GPIOE, &GPIO_InitStruct);

  /*Configure GPIO pins : G4_Pin G5_Pin B6_Pin B7_Pin */
  GPIO_InitStruct.Pin = G4_Pin|G5_Pin|B6_Pin|B7_Pin;
  GPIO_InitStruct.Mode = GPIO_MODE_AF_PP;
  GPIO_InitStruct.Pull = GPIO_NOPULL;
  GPIO_InitStruct.Speed = GPIO_SPEED_FREQ_LOW;
  GPIO_InitStruct.Alternate = GPIO_AF14_LTDC;
  HAL_GPIO_Init(GPIOB, &GPIO_InitStruct);

  /*Configure GPIO pins : OTG_HS_ID_Pin OTG_HS_DM_Pin OTG_HS_DP_Pin */
  GPIO_InitStruct.Pin = OTG_HS_ID_Pin|OTG_HS_DM_Pin|OTG_HS_DP_Pin;
  GPIO_InitStruct.Mode = GPIO_MODE_AF_PP;
  GPIO_InitStruct.Pull = GPIO_NOPULL;
  GPIO_InitStruct.Speed = GPIO_SPEED_FREQ_LOW;
  GPIO_InitStruct.Alternate = GPIO_AF12_OTG_HS_FS;
  HAL_GPIO_Init(GPIOB, &GPIO_InitStruct);

  /*Configure GPIO pin : VBUS_HS_Pin */
  GPIO_InitStruct.Pin = VBUS_HS_Pin;
  GPIO_InitStruct.Mode = GPIO_MODE_INPUT;
  GPIO_InitStruct.Pull = GPIO_NOPULL;
  HAL_GPIO_Init(VBUS_HS_GPIO_Port, &GPIO_InitStruct);

  /*Configure GPIO pins : D13_Pin D14_Pin D15_Pin D0_Pin
                           D1_Pin D2_Pin D3_Pin */
  GPIO_InitStruct.Pin = D13_Pin|D14_Pin|D15_Pin|D0_Pin
                          |D1_Pin|D2_Pin|D3_Pin;
  GPIO_InitStruct.Mode = GPIO_MODE_AF_PP;
  GPIO_InitStruct.Pull = GPIO_NOPULL;
  GPIO_InitStruct.Speed = GPIO_SPEED_FREQ_VERY_HIGH;
  GPIO_InitStruct.Alternate = GPIO_AF12_FMC;
  HAL_GPIO_Init(GPIOD, &GPIO_InitStruct);

  /*Configure GPIO pin : TE_Pin */
  GPIO_InitStruct.Pin = TE_Pin;
  GPIO_InitStruct.Mode = GPIO_MODE_INPUT;
  GPIO_InitStruct.Pull = GPIO_NOPULL;
  HAL_GPIO_Init(TE_GPIO_Port, &GPIO_InitStruct);

  /*Configure GPIO pins : RDX_Pin WRX_DCX_Pin */
  GPIO_InitStruct.Pin = RDX_Pin|WRX_DCX_Pin;
  GPIO_InitStruct.Mode = GPIO_MODE_OUTPUT_PP;
  GPIO_InitStruct.Pull = GPIO_NOPULL;
  GPIO_InitStruct.Speed = GPIO_SPEED_FREQ_LOW;
  HAL_GPIO_Init(GPIOD, &GPIO_InitStruct);

  /*Configure GPIO pins : R7_Pin DOTCLK_Pin B3_Pin */
  GPIO_InitStruct.Pin = R7_Pin|DOTCLK_Pin|B3_Pin;
  GPIO_InitStruct.Mode = GPIO_MODE_AF_PP;
  GPIO_InitStruct.Pull = GPIO_NOPULL;
  GPIO_InitStruct.Speed = GPIO_SPEED_FREQ_LOW;
  GPIO_InitStruct.Alternate = GPIO_AF14_LTDC;
  HAL_GPIO_Init(GPIOG, &GPIO_InitStruct);

  /*Configure GPIO pins : HSYNC_Pin G6_Pin R2_Pin */
  GPIO_InitStruct.Pin = HSYNC_Pin|G6_Pin|R2_Pin;
  GPIO_InitStruct.Mode = GPIO_MODE_AF_PP;
  GPIO_InitStruct.Pull = GPIO_NOPULL;
  GPIO_InitStruct.Speed = GPIO_SPEED_FREQ_LOW;
  GPIO_InitStruct.Alternate = GPIO_AF14_LTDC;
  HAL_GPIO_Init(GPIOC, &GPIO_InitStruct);

  /*Configure GPIO pin : I2C3_SDA_Pin */
  GPIO_InitStruct.Pin = I2C3_SDA_Pin;
  GPIO_InitStruct.Mode = GPIO_MODE_AF_OD;
  GPIO_InitStruct.Pull = GPIO_NOPULL;
  GPIO_InitStruct.Speed = GPIO_SPEED_FREQ_LOW;
  GPIO_InitStruct.Alternate = GPIO_AF4_I2C3;
  HAL_GPIO_Init(I2C3_SDA_GPIO_Port, &GPIO_InitStruct);

  /*Configure GPIO pin : I2C3_SCL_Pin */
  GPIO_InitStruct.Pin = I2C3_SCL_Pin;
  GPIO_InitStruct.Mode = GPIO_MODE_AF_OD;
  GPIO_InitStruct.Pull = GPIO_NOPULL;
  GPIO_InitStruct.Speed = GPIO_SPEED_FREQ_LOW;
  GPIO_InitStruct.Alternate = GPIO_AF4_I2C3;
  HAL_GPIO_Init(I2C3_SCL_GPIO_Port, &GPIO_InitStruct);

  /*Configure GPIO pins : STLINK_RX_Pin STLINK_TX_Pin */
  GPIO_InitStruct.Pin = STLINK_RX_Pin|STLINK_TX_Pin;
  GPIO_InitStruct.Mode = GPIO_MODE_AF_PP;
  GPIO_InitStruct.Pull = GPIO_NOPULL;
  GPIO_InitStruct.Speed = GPIO_SPEED_FREQ_VERY_HIGH;
  GPIO_InitStruct.Alternate = GPIO_AF7_USART1;
  HAL_GPIO_Init(GPIOA, &GPIO_InitStruct);

  /*Configure GPIO pin : G7_Pin */
  GPIO_InitStruct.Pin = G7_Pin;
  GPIO_InitStruct.Mode = GPIO_MODE_AF_PP;
  GPIO_InitStruct.Pull = GPIO_NOPULL;
  GPIO_InitStruct.Speed = GPIO_SPEED_FREQ_LOW;
  GPIO_InitStruct.Alternate = GPIO_AF14_LTDC;
  HAL_GPIO_Init(G7_GPIO_Port, &GPIO_InitStruct);

  /*Configure GPIO pins : G3_Pin B4_Pin */
  GPIO_InitStruct.Pin = G3_Pin|B4_Pin;
  GPIO_InitStruct.Mode = GPIO_MODE_AF_PP;
  GPIO_InitStruct.Pull = GPIO_NOPULL;
  GPIO_InitStruct.Speed = GPIO_SPEED_FREQ_LOW;
  GPIO_InitStruct.Alternate = GPIO_AF9_LTDC;
  HAL_GPIO_Init(GPIOG, &GPIO_InitStruct);

  /*Configure GPIO pins : LD3_Pin LD4_Pin */
  GPIO_InitStruct.Pin = LD3_Pin|LD4_Pin;
  GPIO_InitStruct.Mode = GPIO_MODE_OUTPUT_PP;
  GPIO_InitStruct.Pull = GPIO_NOPULL;
  GPIO_InitStruct.Speed = GPIO_SPEED_FREQ_LOW;
  HAL_GPIO_Init(GPIOG, &GPIO_InitStruct);

  /*Configure GPIO pins : User_LED_Blue_Pin User_LED_White_Pin */
  GPIO_InitStruct.Pin = User_LED_Blue_Pin|User_LED_White_Pin;
  GPIO_InitStruct.Mode = GPIO_MODE_OUTPUT_PP;
  GPIO_InitStruct.Pull = GPIO_NOPULL;
  GPIO_InitStruct.Speed = GPIO_SPEED_FREQ_LOW;
  HAL_GPIO_Init(GPIOB, &GPIO_InitStruct);

  /*Configure GPIO pins : SDCKE1_Pin SDNE1_Pin */
  GPIO_InitStruct.Pin = SDCKE1_Pin|SDNE1_Pin;
  GPIO_InitStruct.Mode = GPIO_MODE_AF_PP;
  GPIO_InitStruct.Pull = GPIO_NOPULL;
  GPIO_InitStruct.Speed = GPIO_SPEED_FREQ_VERY_HIGH;
  GPIO_InitStruct.Alternate = GPIO_AF12_FMC;
  HAL_GPIO_Init(GPIOB, &GPIO_InitStruct);

}

/* USER CODE BEGIN 4 */
void rtc_report_callback( TimerHandle_t xTimer )
{
	 show_time_date_itm();

}

void led_effect_callback(TimerHandle_t xTimer)
{
	 int id;
	 id = ( uint32_t ) pvTimerGetTimerID( xTimer );

	 switch(id)
	 {
	 case 1 :
		 LED_effect1();
		 break;
	 case 2:
		 LED_effect2();
		 break;
	 case 3:
		 LED_effect3();
		 break;
	 case 4:
		 LED_effect4();
	 }

}

/* This function called from UART interrupt handler , hence executes in interrupt context */
void HAL_UART_RxCpltCallback(UART_HandleTypeDef *huart)
{
	uint8_t dummy;

	for(uint32_t i = 0 ; i < 4000 ; i++);

	if(! xQueueIsQueueFullFromISR(q_data))
	{
		/*Enqueue data byte */
		xQueueSendFromISR(q_data , (void*)&user_data , NULL);
	}else{
		if(user_data == '\n')
		{
			/*Make sure that last data byte of the queue is '\n' */
			xQueueReceiveFromISR(q_data,(void*)&dummy,NULL);
			xQueueSendFromISR(q_data ,(void*)&user_data , NULL);
		}
	}

	/*Send notification to command handling task if user_data = '\n' */
	if( user_data == '\n' ){
		/*send notification to command handling task */
		xTaskNotifyFromISR (handle_cmd_task,0,eNoAction,NULL);
	}

	/* Enable UART data byte reception again in IT mode */
	 HAL_UART_Receive_IT(&huart2, (uint8_t*)&user_data, 1);

}

/* USER CODE END 4 */

void HAL_TIM_PeriodElapsedCallback(TIM_HandleTypeDef *htim)
{
  if (htim->Instance == TIM6) {
    HAL_IncTick();
  }
}

void Error_Handler(void)
{
  __disable_irq();
  while (1)
  {
  }
}

/************************ (C) COPYRIGHT STMicroelectronics *****END OF FILE****/
